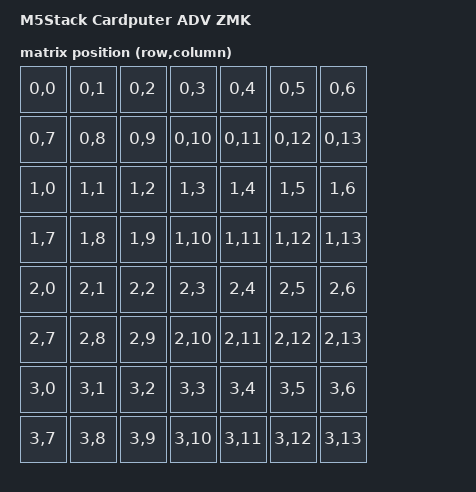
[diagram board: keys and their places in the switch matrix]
/dts-v1/;
#include <espressif/esp32s3/esp32s3_wroom_n8.dtsi>
#include <zephyr/dt-bindings/gpio/gpio.h>
#include <zephyr/dt-bindings/i2c/i2c.h>
#include <zephyr/dt-bindings/pinctrl/esp32s3-pinctrl.h>
#include <zephyr/dt-bindings/pinctrl/esp-pinctrl-common.h>
#include <zephyr/dt-bindings/pinctrl/esp32s3-gpio-sigmap.h>
#include <zephyr/dt-bindings/mipi_dbi/mipi_dbi.h>
#include <zephyr/dt-bindings/adc/adc.h>
#include <zephyr/dt-bindings/pwm/pwm.h>
#include <dt-bindings/zmk/matrix_transform.h>

/ {
    model = "M5Stack Cardputer ADV ZMK";
    compatible = "m5stack,cardputer-adv";
    chosen {
        zephyr,sram = &sram1;
        zephyr,flash = &flash0;
        zephyr,code-partition = &slot0_partition;
        zephyr,bt-hci = &esp32_bt_hci;
        zephyr,console = &usb_serial;
        zephyr,shell-uart = &usb_serial;
        zephyr,display = &lcd;
        zmk,kscan = &keyboard;
        zmk,matrix-transform = &default_transform;
    };
    aliases { watchdog0 = &wdt0; };
    adv_battery {
        compatible = "m5stack,adv-battery";
        io-channels = <&adc0 9>; /* ADC1 channel 9 = GPIO10 */
    };
    adv_controls: controls {
        compatible = "m5stack,adv-controls";
        menu-gpios = <&gpio0 0 (GPIO_ACTIVE_LOW | GPIO_PULL_UP)>;
        pwms = <&ledc0 0 PWM_HZ(1000) PWM_POLARITY_NORMAL>; /* GPIO38; Bruce analogWrite frequency */
    };
    default_transform: matrix_transform {
        compatible = "zmk,matrix-transform";
        rows = <4>; columns = <14>;
        map = <
            RC(0,0) RC(0,1) RC(0,2) RC(0,3) RC(0,4) RC(0,5) RC(0,6)
            RC(0,7) RC(0,8) RC(0,9) RC(0,10) RC(0,11) RC(0,12) RC(0,13)
            RC(1,0) RC(1,1) RC(1,2) RC(1,3) RC(1,4) RC(1,5) RC(1,6)
            RC(1,7) RC(1,8) RC(1,9) RC(1,10) RC(1,11) RC(1,12) RC(1,13)
            RC(2,0) RC(2,1) RC(2,2) RC(2,3) RC(2,4) RC(2,5) RC(2,6)
            RC(2,7) RC(2,8) RC(2,9) RC(2,10) RC(2,11) RC(2,12) RC(2,13)
            RC(3,0) RC(3,1) RC(3,2) RC(3,3) RC(3,4) RC(3,5) RC(3,6)
            RC(3,7) RC(3,8) RC(3,9) RC(3,10) RC(3,11) RC(3,12) RC(3,13)
        >;
    };
    dbi: mipi_dbi {
        compatible = "zephyr,mipi-dbi-spi";
        spi-dev = <&spi3>;
        dc-gpios = <&gpio1 2 GPIO_ACTIVE_HIGH>; /* GPIO34 */
        reset-gpios = <&gpio1 1 GPIO_ACTIVE_LOW>; /* GPIO33 */
        write-only;
        #address-cells = <1>; #size-cells = <0>;
        lcd: display@0 {
            compatible = "sitronix,st7789v";
            reg = <0>;
            mipi-max-frequency = <20000000>;
            mipi-mode = "MIPI_DBI_MODE_SPI_4WIRE";
            width = <240>; height = <135>;
            x-offset = <40>; y-offset = <53>;
            mdac = <0x60>; colmod = <0x55>; lcm = <0x2c>;
            vcom = <0x19>; gctrl = <0x35>; gamma = <0x01>;
            vrhs = <0x12>; vdvs = <0x20>;
            porch-param = [0c 0c 00 33 33];
            cmd2en-param = [01 ff]; pwctrl1-param = [a4 a1];
            pvgam-param = [d0 04 0d 11 13 2b 3f 54 4c 18 0d 0b 1f 23];
            nvgam-param = [d0 04 0c 11 13 2c 3f 44 51 2f 1f 1f 20 23];
            ram-param = [00 f0]; rgb-param = [cd 08 14];
        };
    };
};
&pinctrl {
    adv_sd_spi: adv_sd_spi {
        group1 { pinmux = <SPIM2_SCLK_GPIO40>, <SPIM2_MOSI_GPIO14>; };
        group2 { pinmux = <SPIM2_MISO_GPIO39>; bias-pull-up; };
    };
    adv_backlight: adv_backlight {
        group1 { pinmux = <LEDC_CH0_GPIO38>; output-enable; };
    };
    adv_i2c: adv_i2c {
        group1 {
            pinmux = <I2C0_SDA_GPIO8>, <I2C0_SCL_GPIO9>;
            bias-pull-up; drive-open-drain; output-high;
        };
    };
    adv_spi: adv_spi {
        group1 { pinmux = <SPIM3_SCLK_GPIO36>; };
        group2 { pinmux = <SPIM3_MOSI_GPIO35>; output-low; };
    };
};
&gpio0 { status = "okay"; };
&ledc0 {
    status = "okay";
    pinctrl-0 = <&adv_backlight>;
    pinctrl-names = "default";
    #address-cells = <1>;
    #size-cells = <0>;
    channel0@0 { reg = <0>; timer = <0>; };
};
&gpio1 { status = "okay"; };
&usb_serial { status = "okay"; };
/* GPIO43/44 belong to audio/IR on ADV, not the debug console. */
&uart0 { status = "disabled"; };
&i2c0 {
    status = "okay";
    clock-frequency = <I2C_BITRATE_STANDARD>;
    pinctrl-0 = <&adv_i2c>; pinctrl-names = "default";
    keyboard: keyboard@34 {
        compatible = "m5stack,adv-tca8418";
        reg = <0x34>;
        irq-gpios = <&gpio0 11 GPIO_ACTIVE_LOW>;
        poll-interval-ms = <10>;
    };
};
&spi3 {
    #address-cells = <1>; #size-cells = <0>;
    status = "okay";
    pinctrl-0 = <&adv_spi>; pinctrl-names = "default";
    cs-gpios = <&gpio1 5 GPIO_ACTIVE_LOW>; /* GPIO37 */
};
&spi2 {
    status = "okay";
    pinctrl-0 = <&adv_sd_spi>;
    pinctrl-names = "default";
    cs-gpios = <&gpio0 12 GPIO_ACTIVE_LOW>;
    #address-cells = <1>;
    #size-cells = <0>;
    sdhc@0 {
        compatible = "zephyr,sdhc-spi-slot";
        reg = <0>;
        status = "okay";
        spi-max-frequency = <4000000>;
        mmc {
            compatible = "zephyr,sdmmc-disk";
            disk-name = "SD";
            status = "okay";
        };
    };
};
&esp32_bt_hci { status = "okay"; };
&trng0 { status = "okay"; };
&adc0 {
    status = "okay";
    #address-cells = <1>;
    #size-cells = <0>;
    channel@9 {
        reg = <9>;
        zephyr,gain = "ADC_GAIN_1_4";
        zephyr,reference = "ADC_REF_INTERNAL";
        zephyr,acquisition-time = <ADC_ACQ_TIME_DEFAULT>;
        zephyr,resolution = <12>;
    };
};
&wdt0 { status = "okay"; };
/* Native Zephyr simple boot layout. This is NOT a Launcher OTA image. */
&flash0 {
    partitions {
        compatible = "fixed-partitions";
        #address-cells = <1>; #size-cells = <1>;
        boot_partition: partition@0 { label = "boot"; reg = <0x0 0x10000>; };
        slot0_partition: partition@10000 { label = "image-0"; reg = <0x10000 0x600000>; };
        storage_partition: partition@7e0000 { label = "storage"; reg = <0x7e0000 0x2000>; };
    };
};
